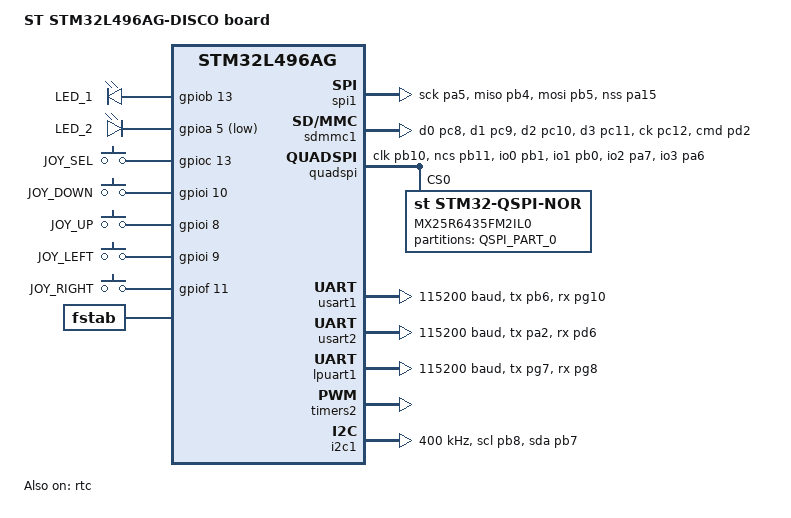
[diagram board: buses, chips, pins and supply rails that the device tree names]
/*
 * Copyright (c) 2017 Linaro Limited
 *
 * SPDX-License-Identifier: Apache-2.0
 */

/dts-v1/;
#include <st/l4/stm32l496Xg.dtsi>
#include <st/l4/stm32l496agixp-pinctrl.dtsi>

/ {
	model = "ST STM32L496AG-DISCO board";
	compatible = "st,stm32l496ag-disco";

	chosen {
		zephyr,console = &usart2;
		zephyr,shell-uart = &usart2;
		zephyr,sram = &sram0;
		zephyr,flash = &flash0;
	};

	leds {
		compatible = "gpio-leds";
		green_led_2: led_2 {
			gpios = <&gpiob 13 GPIO_ACTIVE_HIGH>;
			label = "LED_1";
		};
		green_led_3: led_3 {
			gpios = <&gpioa 5 GPIO_ACTIVE_LOW>;
			label = "LED_2";
		};
	};

	gpio_keys {
		compatible = "gpio-keys";
		joy_sel: joystick_select {
			label = "JOY_SEL";
			gpios = <&gpioc 13 (GPIO_ACTIVE_HIGH | GPIO_PULL_DOWN)>;
		};
		joy_down: joystick_down {
			label = "JOY_DOWN";
			gpios = <&gpioi 10 (GPIO_ACTIVE_HIGH | GPIO_PULL_DOWN)>;
		};
		joy_up: joystick_up {
			label = "JOY_UP";
			gpios = <&gpioi 8 (GPIO_ACTIVE_HIGH | GPIO_PULL_DOWN)>;
		};
		joy_left: joystick_left {
			label = "JOY_LEFT";
			gpios = <&gpioi 9 (GPIO_ACTIVE_HIGH | GPIO_PULL_DOWN)>;
		};
		joy_right: joystick_right {
			label = "JOY_RIGHT";
			gpios = <&gpiof 11 (GPIO_ACTIVE_HIGH | GPIO_PULL_DOWN)>;
		};
	};

	fstab {
		compatible = "zephyr,fstab";
		lfs0: littlefs {
			compatible = "zephyr,fstab,littlefs";
			mount-point = "/qspi";
			partition = <&qspi_part0>;
			automount;
			read-size = <16>;
			prog-size = <16>;
			cache-size = <64>;
			lookahead-size = <32>;
			block-cycles = <512>;
		};
	};

	aliases {
		led0 = &green_led_2;
		led1 = &green_led_3;
		sw0 = &joy_sel;
		sw1 = &joy_down;
		sw2 = &joy_right;
		sw3 = &joy_up;
		sw4 = &joy_left;
	};
};

&spi1 {
	pinctrl-0 = <&spi1_sck_pa5 &spi1_miso_pb4 
		&spi1_mosi_pb5 &spi1_nss_pa15>;
	status = "okay";
};


&sdmmc1 {
	pinctrl-0 = <&sdmmc1_d0_pc8 &sdmmc1_d1_pc9
		&sdmmc1_d2_pc10 &sdmmc1_d3_pc11
		&sdmmc1_ck_pc12 &sdmmc1_cmd_pd2>;
	/*
	cd-gpios = <&gpiob 15 GPIO_ACTIVE_LOW>;
	*/
	status = "okay";
};

&quadspi {
	pinctrl-0 = <&quadspi_clk_pb10 &quadspi_bk1_ncs_pb11
							 &quadspi_bk1_io0_pb1 &quadspi_bk1_io1_pb0
							 &quadspi_bk1_io2_pa7 &quadspi_bk1_io3_pa6>;
	/*
	dmas = <&dma1 1 3 0 0x03>;
	dma-names = "tx_rx";
	*/

	status = "okay";

	mx25r6435fm2il0: qspi-nor-flash@0 {
		compatible = "st,stm32-qspi-nor";
		label = "MX25R6435FM2IL0";
		reg = <0>;
		qspi-max-frequency = <40000000>;
			/* 64 Megabits = 8 Megabytes */
		size = <0x4000000>;
		status = "okay";

		partitions {
			compatible = "fixed-partitions";
			#address-cells = <1>;
			#size-cells = <1>;

			qspi_part0: partition@0 {
				label = "QSPI_PART_0";
				reg = <0x00000000 DT_SIZE_M(8)>;
			};
		};
	};	
};

&usart1 {
	pinctrl-0 = <&usart1_tx_pb6 &usart1_rx_pg10>;
	current-speed = <115200>;
	status = "okay";
};

&usart2 {
	pinctrl-0 = <&usart2_tx_pa2 &usart2_rx_pd6>;
	current-speed = <115200>;
	status = "okay";
};

&lpuart1 {
	pinctrl-0 = <&lpuart1_tx_pg7 &lpuart1_rx_pg8>;
	current-speed = <115200>;
	status = "okay";
};

&timers2 {
	status = "okay";

	pwm2: pwm {
		pinctrl-0 = <&tim2_ch1_pa0>;
		status = "okay";
	};
};

&i2c1 {
	pinctrl-0 = <&i2c1_scl_pb8 &i2c1_sda_pb7>;
	clock-frequency = <I2C_BITRATE_FAST>;
	status = "okay";
};

&rtc {
	status = "okay";
};
